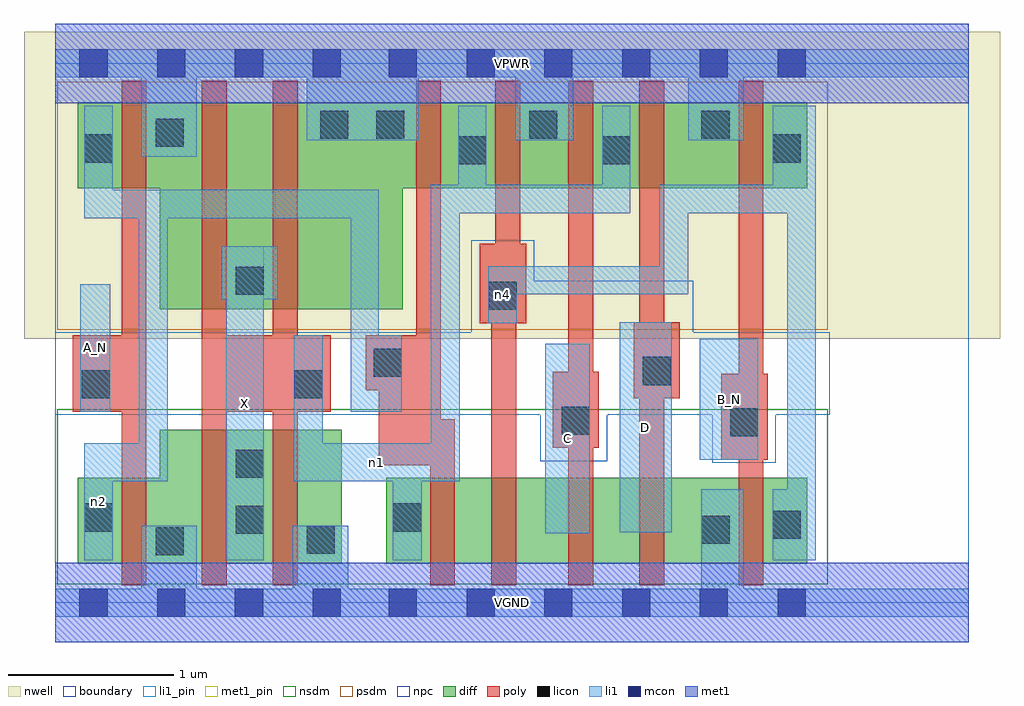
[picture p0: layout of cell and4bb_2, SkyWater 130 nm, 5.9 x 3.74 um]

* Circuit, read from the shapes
.subckt and4bb_2 A_N B_N C D VGND VPWR X n1 n2 n4
XM1 VGND A_N n2 VSUBS sky130_fd_pr__nfet_01v8 w=0.52 l=0.15
XM2 X n1 VGND VSUBS sky130_fd_pr__nfet_01v8 w=0.81 l=0.15 m=2
XM3 n3 n2 n1 VSUBS sky130_fd_pr__nfet_01v8 w=0.52 l=0.15
XM4 n5 n4 n3 VSUBS sky130_fd_pr__nfet_01v8 w=0.52 l=0.15
XM5 n6 C n5 VSUBS sky130_fd_pr__nfet_01v8 w=0.52 l=0.15
XM6 VGND D n6 VSUBS sky130_fd_pr__nfet_01v8 w=0.52 l=0.15
XM7 n4 B_N VGND VSUBS sky130_fd_pr__nfet_01v8 w=0.52 l=0.15
XM8 VPWR A_N n2 n7 sky130_fd_pr__pfet_01v8 w=0.52 l=0.15
XM9 X n1 VPWR n7 sky130_fd_pr__pfet_01v8 w=1.25 l=0.15 m=2
XM10 n1 n2 VPWR n7 sky130_fd_pr__pfet_01v8 w=0.52 l=0.15
XM11 VPWR n4 n1 n7 sky130_fd_pr__pfet_01v8 w=0.52 l=0.15
XM12 n1 C VPWR n7 sky130_fd_pr__pfet_01v8 w=0.52 l=0.15
XM13 VPWR D n1 n7 sky130_fd_pr__pfet_01v8 w=0.52 l=0.15
XM14 n4 B_N VPWR n7 sky130_fd_pr__pfet_01v8 w=0.52 l=0.15
.ends

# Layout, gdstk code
import gdstk
lib = gdstk.Library(unit=1e-6, precision=1e-09)
def R(c, l, rs):  # rectangles x0, y0, x1, y1
    for r in rs: c.add(gdstk.rectangle(r[:2], r[2:], *l))
def A(c, l, x, y, w, h, nx, ny, dx, dy):  # array of equal rectangles
    R(c, l, [(x+i*dx, y+j*dy, x+i*dx+w, y+j*dy+h) for i in range(nx) for j in range(ny)])
nwell = (64, 20)
diff = (65, 20)
poly = (66, 20)
licon = (66, 44)
li1_pin = (67, 16)
li1 = (67, 20)
mcon = (67, 44)
met1_pin = (68, 16)
met1 = (68, 20)
nsdm = (93, 44)
psdm = (94, 20)
npc = (95, 20)
boundary = (235, 4)

and4bb_2 = lib.new_cell('and4bb_2')
R(and4bb_2, nwell, [(-0.19,1.595,5.71,3.45), (0,1.595,5.52,3.45)])
R(and4bb_2, diff, [(0.135,0.235,1.73,0.755), (0.63,0.235,1.73,1.045), (2,0.235,4.545,0.755), (0.63,1.775,2.1,3.025), (0.135,2.505,4.545,3.025)])
R(and4bb_2, poly, [(0.4,0.105,0.55,3.155), (0.885,0.105,1.035,3.155), (1.315,0.105,1.465,3.155), (2.265,0.105,2.415,1.11), (2.635,0.105,2.785,2.17), (3.1,0.105,3.25,3.155), (3.53,0.105,3.68,3.155), (4.13,0.105,4.28,3.155), (1.955,0.83,2.33,1.615), (2.18,0.83,2.33,3.155), (4.025,0.865,4.305,1.385), (3.005,0.935,3.285,1.395), (0.105,1.155,0.55,1.615), (0.885,1.155,1.665,1.615), (3.495,1.235,3.775,1.695), (1.875,1.285,2.33,1.615), (2.565,1.69,2.845,2.17), (2.66,1.69,2.81,3.155)])
R(and4bb_2, licon, [(0.605,0.285,0.775,0.455), (1.52,0.295,1.69,0.465), (3.905,0.355,4.075,0.525), (4.335,0.385,4.505,0.555), (1.09,0.415,1.26,0.585), (0.175,0.43,0.345,0.6), (2.04,0.43,2.21,0.6), (1.09,0.755,1.26,0.925), (4.08,1.005,4.25,1.175), (3.06,1.015,3.23,1.185), (0.16,1.235,0.33,1.405), (1.445,1.235,1.615,1.405), (3.55,1.315,3.72,1.485), (1.925,1.365,2.095,1.535), (2.62,1.77,2.79,1.94), (1.09,1.86,1.26,2.03), (2.435,2.65,2.605,2.82), (3.305,2.65,3.475,2.82), (0.175,2.66,0.345,2.83), (4.335,2.66,4.505,2.83), (0.605,2.755,0.775,2.925), (1.6,2.805,1.77,2.975), (1.94,2.805,2.11,2.975), (2.865,2.805,3.035,2.975), (3.905,2.805,4.075,2.975)])
R(and4bb_2, li1_pin, [(1.03,0.255,1.26,2.155), (2.96,0.42,3.23,1.565), (3.41,0.425,3.725,1.695), (3.895,0.865,4.25,1.595), (0.15,1.155,0.33,1.925)])
R(and4bb_2, li1, [(0,-0.085,5.52,0.085), (0.52,-0.085,0.855,0.465), (1.435,-0.085,1.77,0.465), (3.905,-0.085,4.16,0.685), (0.175,0.255,0.345,0.965), (1.03,0.255,1.26,2.155), (2.04,0.255,2.215,0.965), (4.335,0.255,4.595,0.685), (4.425,0.255,4.595,3.005), (2.96,0.42,3.23,1.565), (3.41,0.425,3.725,1.695), (0.175,0.735,0.68,0.965), (0.505,0.735,0.68,2.495), (1.44,0.735,2.445,0.965), (1.44,0.735,1.615,1.615), (2.27,0.735,2.445,2.525), (3.895,0.865,4.25,1.595), (0.15,1.155,0.33,1.925), (1.785,1.155,1.955,2.495), (1.785,1.155,2.095,1.615), (2.615,1.69,2.79,2.035), (1.005,1.835,1.345,2.155), (2.615,1.865,3.825,2.035), (3.65,1.865,3.825,2.525), (0.175,2.325,1.955,2.495), (0.175,2.325,0.345,3.005), (2.27,2.355,3.475,2.525), (2.435,2.355,2.605,3.005), (3.305,2.355,3.475,3.005), (3.65,2.355,4.595,2.525), (4.335,2.355,4.595,3.005), (0.52,2.695,0.855,3.345), (1.52,2.795,2.195,3.345), (2.78,2.795,3.13,3.345), (3.825,2.795,4.16,3.345), (0,3.175,5.52,3.345)])
A(and4bb_2, mcon, 0.145, -0.085, 0.17, 0.17, 4, 2, 0.47, 3.26)
A(and4bb_2, mcon, 2.015, -0.085, 0.17, 0.17, 6, 2, 0.47, 3.26)
R(and4bb_2, met1_pin, [(0,-0.24,5.52,0.24), (0,3.02,5.52,3.5)])
R(and4bb_2, met1, [(0,-0.24,5.52,0.24), (0,3.02,5.52,3.5)])
R(and4bb_2, nsdm, [(0.01,0.11,4.67,1.17)])
R(and4bb_2, psdm, [(0.01,1.65,4.67,3.15)])
R(and4bb_2, npc, [(3.97,0.845,4.355,1.635), (2.93,0.855,3.335,1.945), (0,1.135,4.68,1.635), (2.515,1.135,2.895,2.19), (2.515,1.635,3.855,1.945)])
R(and4bb_2, boundary, [(0,0,5.52,3.26)])
and4bb_2.add(gdstk.Label('A_N', (0.24,1.54), layer=67, texttype=5))
and4bb_2.add(gdstk.Label('B_N', (4.072,1.23), layer=67, texttype=5))
and4bb_2.add(gdstk.Label('C', (3.095,0.992), layer=67, texttype=5))
and4bb_2.add(gdstk.Label('D', (3.567,1.06), layer=67, texttype=5))
and4bb_2.add(gdstk.Label('X', (1.145,1.205), layer=67, texttype=5))
and4bb_2.add(gdstk.Label('n2', (0.26,0.61), layer=67, texttype=5))
and4bb_2.add(gdstk.Label('n1', (1.942,0.85), layer=67, texttype=5))
and4bb_2.add(gdstk.Label('n4', (2.702,1.862), layer=67, texttype=5))
and4bb_2.add(gdstk.Label('VPWR', (2.76,3.26), layer=68, texttype=5))
and4bb_2.add(gdstk.Label('VGND', (2.76,0), layer=68, texttype=5))
and4bb_2.add(gdstk.Label('A_N', (0.24,1.54), layer=67, texttype=16))
and4bb_2.add(gdstk.Label('B_N', (4.072,1.23), layer=67, texttype=16))
and4bb_2.add(gdstk.Label('C', (3.095,0.992), layer=67, texttype=16))
and4bb_2.add(gdstk.Label('D', (3.567,1.06), layer=67, texttype=16))
and4bb_2.add(gdstk.Label('X', (1.145,1.205), layer=67, texttype=16))
and4bb_2.add(gdstk.Label('VPWR', (2.76,3.26), layer=68, texttype=16))
and4bb_2.add(gdstk.Label('VGND', (2.76,0), layer=68, texttype=16))

lib.write_gds('and4bb_2.gds')
